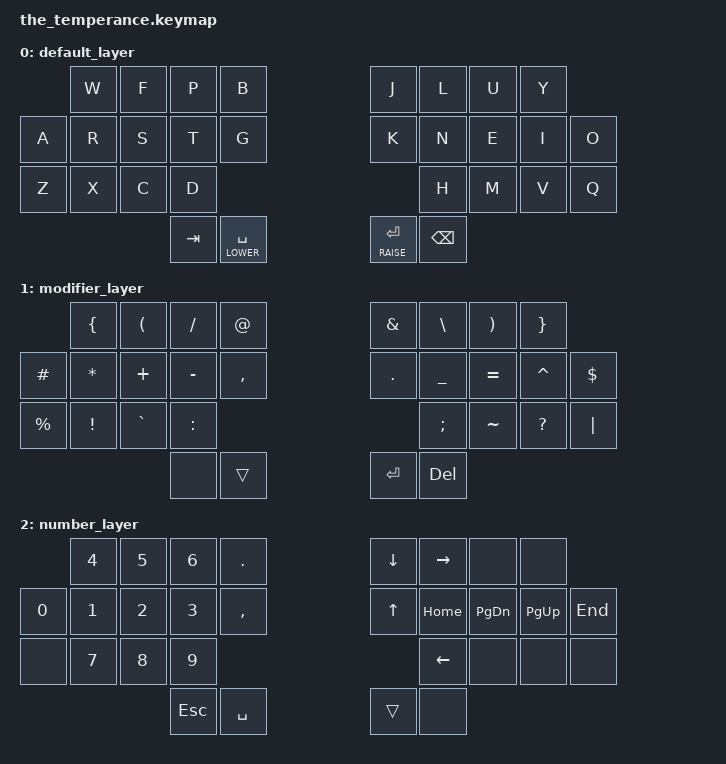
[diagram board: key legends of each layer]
#include <behaviors.dtsi>
#include <dt-bindings/zmk/keys.h>

#define DEFAULT 0
#define LOWER   1
#define RAISE   2

#include "combo.dtsi"

/ {
    keymap {
        compatible = "zmk,keymap";

        default_layer {
//       |  W  |  F  |  P  |  B  ||  J  |  L  |  U  |  Y  |
// |  A  |  R  |  S  |  T  |  G  ||  K  |  N  |  E  |  I  |  O  |
// |  Z  |  X  |  C  |  D  |            |  H  |  M  |  V  |  Q  |
//                   | TAB | SPC || RET | BSP |
            bindings = <
          &kp W &kp F &kp P   &kp B              &kp J         &kp L &kp U &kp Y
    &kp A &kp R &kp S &kp T   &kp G              &kp K         &kp N &kp E &kp I &kp O
    &kp Z &kp X &kp C &kp D                                    &kp H &kp M &kp V &kp Q
                      &kp TAB &lt LOWER SPACE    &lt RAISE RET &kp BSPC
            >;
        };

        modifier_layer {
//       |  {  |  (  |  /  |  @  ||  &  |  \  |  )  |  }  |
// |  #  |  *  |  +  |  -  |  ,  ||  .  |  _  |  =  |  ^  |  $  |
// |  %  |  !  |  `  |  :  |            |  ;  |  ~  |  ?  |  |  |
//                   |     | --- || RET | DEL |
            bindings = <
              &kp LBRC &kp LPAR  &kp FSLH  &kp AT       &kp AMPS &kp BSLH  &kp RPAR  &kp RBRC
    &kp HASH  &kp STAR &kp PLUS  &kp MINUS &kp COMMA    &kp DOT  &kp UNDER &kp EQUAL &kp CARET &kp DLLR
    &kp PRCNT &kp EXCL &kp GRAVE &kp COLON                       &kp SEMI  &kp TILDE &kp QMARK &kp PIPE
                                 &none     &trans       &kp RET  &kp DEL
            >;
        };

        number_layer {
//       |  4  |  5  |  6  |  .  || DWN | RGT |     |     |
// |  0  |  1  |  2  |  3  |  ,  ||  UP | HME | PGD | PGU | END |
// |     |  7  |  8  |  9  |            | LFT |     |     |     |
//                   | ESC | SPC || --- |     |
            bindings = <
           &kp N4 &kp N5 &kp N6  &kp DOT      &kp DOWN &kp RIGHT &none     &none
    &kp N0 &kp N1 &kp N2 &kp N3  &kp COMMA    &kp UP   &kp HOME  &kp PG_DN &kp PG_UP &kp END
    &none  &kp N7 &kp N8 &kp N9                        &kp LEFT  &none     &none     &none
                         &kp ESC &kp SPACE    &trans   &none
            >;
        };
    };
};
